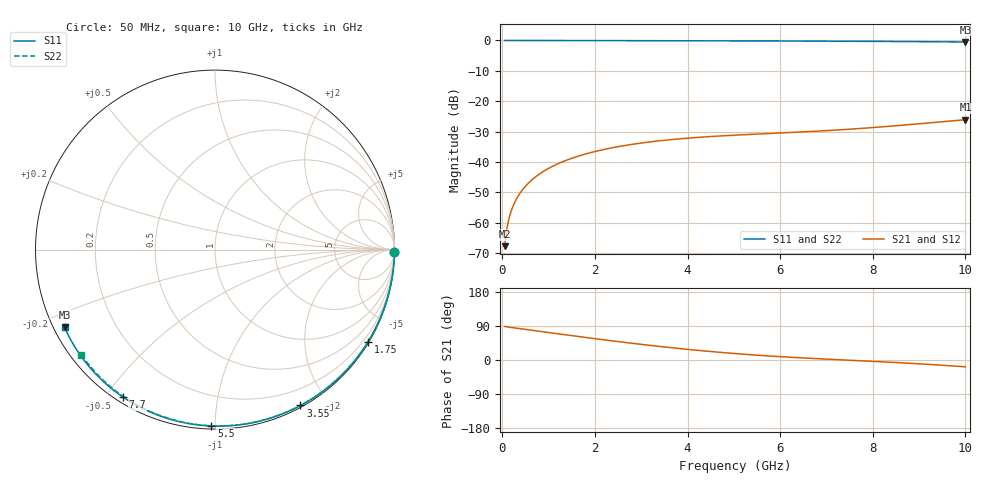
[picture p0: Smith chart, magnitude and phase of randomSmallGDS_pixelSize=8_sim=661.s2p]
! freq	dB(S11)	phase(S11)	dB(S12)	phase(S12)
!  dB(S21)	phase(S21)	dB(S22)	phase(S22)
!S-par simulation data
#  GHz  S  DB  R 50
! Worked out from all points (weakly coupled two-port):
!   200 points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, 50 MHz to 10 GHz, reference 50 ohm
!   highest |S21| = -26.09 dB at 10 GHz (marker M1); lowest = -67.7 dB at 50 MHz (marker M2)
!   lowest |S11| = -0.5 dB at 10 GHz (marker M3), VSWR 34.43, Z = 1.54 - j12.1 ohm
!   |S11| at or under -10 dB: nowhere
!   |S22| runs from -0.5 to 0.0 dB; largest |S21 - S12| = 0
!   S11 on the Smith chart (normalised r, x): 50 MHz: open; 1.75 GHz: 0.03, -3.59; 3.55 GHz: 0.02, -1.69; 5.5 GHz: 0.02, -0.98; 7.7 GHz: 0.02, -0.55; 10 GHz: 0.03, -0.24
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0.05  -0.00 -0.9  -67.74 88.7  -67.74 88.7  -0.00 -0.8
0.1  -0.00 -1.8  -61.76 87.5  -61.76 87.5  -0.00 -1.7
0.15  -0.00 -2.7  -58.29 86.5  -58.29 86.5  -0.00 -2.5
0.2  -0.00 -3.6  -55.83 85.7  -55.83 85.7  -0.00 -3.3
0.25  -0.00 -4.5  -53.92 84.8  -53.92 84.8  -0.00 -4.2
0.35  -0.00 -6.3  -51.05 83.2  -51.05 83.2  -0.00 -5.9
0.5  -0.01 -9.0  -48.00 80.8  -48.00 80.8  -0.01 -8.3
0.7  -0.01 -12.6  -45.13 77.5  -45.13 77.5  -0.01 -11.7
1  -0.02 -17.9  -42.12 72.6  -42.12 72.6  -0.02 -16.6
1.35  -0.03 -24.1  -39.65 66.8  -39.65 66.8  -0.03 -22.3
1.75  -0.04 -31.1  -37.59 60.3  -37.59 60.3  -0.04 -28.8
2.5  -0.06 -43.9  -34.97 48.6  -34.97 48.6  -0.05 -40.7
3.4  -0.08 -58.9  -33.03 35.7  -33.03 35.7  -0.07 -54.6
3.55  -0.08 -61.3  -32.79 33.7  -32.79 33.7  -0.08 -56.8
4.3  -0.11 -73.1  -31.84 24.6  -31.84 24.6  -0.10 -67.9
5.05  -0.13 -84.6  -31.16 16.7  -31.16 16.7  -0.12 -78.6
5.5  -0.15 -91.2  -30.82 12.7  -30.82 12.7  -0.14 -84.8
6.7  -0.21 -108.3  -29.94 4.1  -29.94 4.1  -0.20 -100.8
7.7  -0.28 -122.0  -29.02 -1.7  -29.02 -1.7  -0.26 -113.6
8.35  -0.33 -130.7  -28.27 -5.6  -28.27 -5.6  -0.31 -121.7
9.2  -0.41 -142.0  -27.18 -11.5  -27.18 -11.5  -0.39 -132.1
10  -0.50 -152.7  -26.09 -18.0  -26.09 -18.0  -0.47 -141.8
